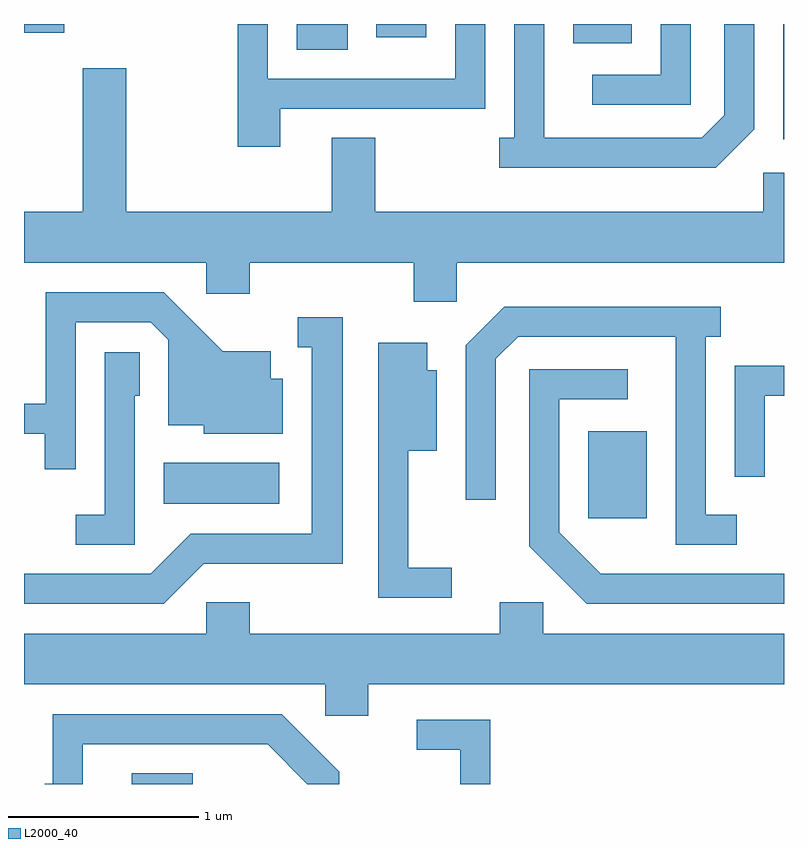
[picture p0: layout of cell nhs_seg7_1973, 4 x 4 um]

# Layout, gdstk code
import gdstk
lib = gdstk.Library(unit=1e-6, precision=1e-09)
def R(c, l, rs):  # rectangles x0, y0, x1, y1
    for r in rs: c.add(gdstk.rectangle(r[:2], r[2:], *l))
def P(c, l, *ps):  # polygons
    for p in ps: c.add(gdstk.Polygon(p, *l))
L2000_40 = (2000, 40)

nhs_seg7_1973 = lib.new_cell('nhs_seg7_1973')
R(nhs_seg7_1973, L2000_40, [(246.178,1698.252,246.499,1698.309), (248.581,1699.651,248.889,1700.109), (246.346,1699.726,246.954,1699.944), (249.606,1701.646,249.611,1702.252), (247.046,1702.116,247.314,1702.252), (248.501,1702.151,248.809,1702.252), (247.466,1702.181,247.729,1702.252), (245.611,1702.206,245.824,1702.252)])
P(nhs_seg7_1973, L2000_40, [(249.454,1701.699),(249.454,1702.252),(249.296,1702.252),(249.296,1701.772),(249.179,1701.654),(248.349,1701.654),(248.349,1702.252),(248.191,1702.252),(248.191,1701.654),(248.113,1701.654),(248.113,1701.496),(249.252,1701.496)],
  [(249.119,1702.252),(248.961,1702.252),(248.961,1701.984),(248.603,1701.984),(248.603,1701.826),(249.119,1701.826)],
  [(246.959,1701.806),(248.039,1701.806),(248.039,1702.252),(247.881,1702.252),(247.881,1701.964),(246.894,1701.964),(246.894,1702.252),(246.736,1702.252),(246.736,1701.606),(246.959,1701.606)],
  [(247.889,1700.996),(249.611,1700.996),(249.611,1701.469),(249.501,1701.469),(249.501,1701.264),(247.459,1701.264),(247.459,1701.654),(247.231,1701.654),(247.231,1701.264),(246.149,1701.264),(246.149,1702.019),(245.921,1702.019),(245.921,1701.264),(245.611,1701.264),(245.611,1700.996),(246.571,1700.996),(246.571,1700.831),(246.799,1700.831),(246.799,1700.996),(247.661,1700.996),(247.661,1700.791),(247.889,1700.791)],
  [(245.884,1700.681),(246.279,1700.681),(246.371,1700.589),(246.371,1700.141),(246.556,1700.141),(246.556,1700.096),(246.974,1700.096),(246.974,1700.384),(246.909,1700.384),(246.909,1700.529),(246.657,1700.529),(246.347,1700.839),(245.726,1700.839),(245.726,1700.254),(245.611,1700.254),(245.611,1700.096),(245.721,1700.096),(245.721,1699.908),(245.884,1699.908)],
  [(249.363,1699.669),(249.199,1699.669),(249.199,1700.606),(249.278,1700.606),(249.278,1700.764),(248.139,1700.764),(247.936,1700.562),(247.936,1699.748),(248.094,1699.748),(248.094,1700.489),(248.212,1700.606),(249.041,1700.606),(249.041,1699.511),(249.363,1699.511)],
  [(246.557,1699.411),(247.289,1699.411),(247.289,1700.709),(247.053,1700.709),(247.053,1700.551),(247.126,1700.551),(247.126,1699.569),(246.489,1699.569),(246.279,1699.359),(245.611,1699.359),(245.611,1699.201),(246.347,1699.201)],
  [(247.863,1699.389),(247.634,1699.389),(247.634,1700.006),(247.784,1700.006),(247.784,1700.429),(247.734,1700.429),(247.734,1700.574),(247.476,1700.574),(247.476,1699.231),(247.863,1699.231)],
  [(246.194,1700.296),(246.219,1700.296),(246.219,1700.524),(246.036,1700.524),(246.036,1699.669),(245.883,1699.669),(245.883,1699.511),(246.194,1699.511)],
  [(249.509,1700.296),(249.611,1700.296),(249.611,1700.454),(249.351,1700.454),(249.351,1699.868),(249.509,1699.868)],
  [(249.611,1699.359),(248.647,1699.359),(248.429,1699.577),(248.429,1700.276),(248.788,1700.276),(248.788,1700.434),(248.271,1700.434),(248.271,1699.504),(248.574,1699.201),(249.611,1699.201)],
  [(247.424,1698.776),(249.611,1698.776),(249.611,1699.044),(248.344,1699.044),(248.344,1699.209),(248.116,1699.209),(248.116,1699.044),(246.799,1699.044),(246.799,1699.209),(246.571,1699.209),(246.571,1699.044),(245.611,1699.044),(245.611,1698.776),(247.196,1698.776),(247.196,1698.611),(247.424,1698.611)],
  [(245.919,1698.461),(246.894,1698.461),(247.103,1698.252),(247.269,1698.252),(247.269,1698.317),(246.967,1698.619),(245.761,1698.619),(245.761,1698.254),(245.721,1698.254),(245.721,1698.252),(245.919,1698.252)],
  [(248.064,1698.589),(247.678,1698.589),(247.678,1698.431),(247.906,1698.431),(247.906,1698.252),(248.064,1698.252)])

lib.write_gds('nhs_seg7_1973.gds')
